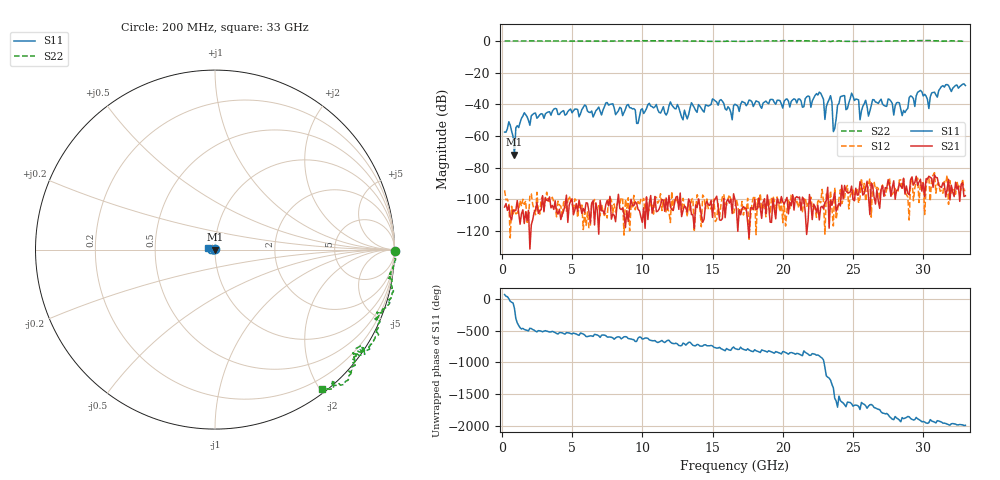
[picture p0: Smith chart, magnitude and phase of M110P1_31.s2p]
# GHZ S RI R 50
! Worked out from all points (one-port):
!   329 points, 200 MHz to 33 GHz, reference 50 ohm
!   lowest |S11| = -71.9 dB at 900 MHz (marker M1), VSWR 1.00, Z = 50 - j0.016 ohm
!   |S11| at or under -10 dB: start of sweep to end of sweep
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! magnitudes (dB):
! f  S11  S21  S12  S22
! 200 MHz  -57.6  -104.9  -94.4  0.0
! 500 MHz  -51.1  -104.0  -103.0  0.0
! 900 MHz  -71.9  -107.4  -106.7  0.0
! 1 GHz  -54.8  -107.0  -109.2  0.0
! 1.6 GHz  -45.3  -115.3  -103.2  0.0
! 5.7 GHz  -43.4  -108.9  -103.7  -0.1
! 11.2 GHz  -45.1  -106.1  -101.0  0.1
! 16.6 GHz  -40.0  -100.4  -105.2  -0.2
! 22.1 GHz  -38.0  -112.9  -105.6  0.1
! 22.7 GHz  -33.0  -105.1  -102.2  -0.2
! 23 GHz  -49.5  -102.1  -122.1  0.1
! 23.4 GHz  -34.6  -100.6  -94.7  -0.4
! 23.6 GHz  -57.3  -100.0  -116.9  0.0
! 24.1 GHz  -35.2  -104.2  -94.0  0.0
! 25.4 GHz  -37.3  -97.2  -102.4  -0.4
! 25.5 GHz  -49.8  -88.9  -99.2  -0.3
! 25.9 GHz  -37.4  -92.9  -101.3  -0.3
! 27.6 GHz  -37.0  -90.6  -86.5  0.0
! 28.5 GHz  -47.2  -93.0  -94.0  0.0
! 29.8 GHz  -31.2  -87.4  -89.7  0.2
! 30.4 GHz  -42.7  -85.5  -86.4  0.3
! 33 GHz  -28.1  -97.8  -94.4  -0.2
